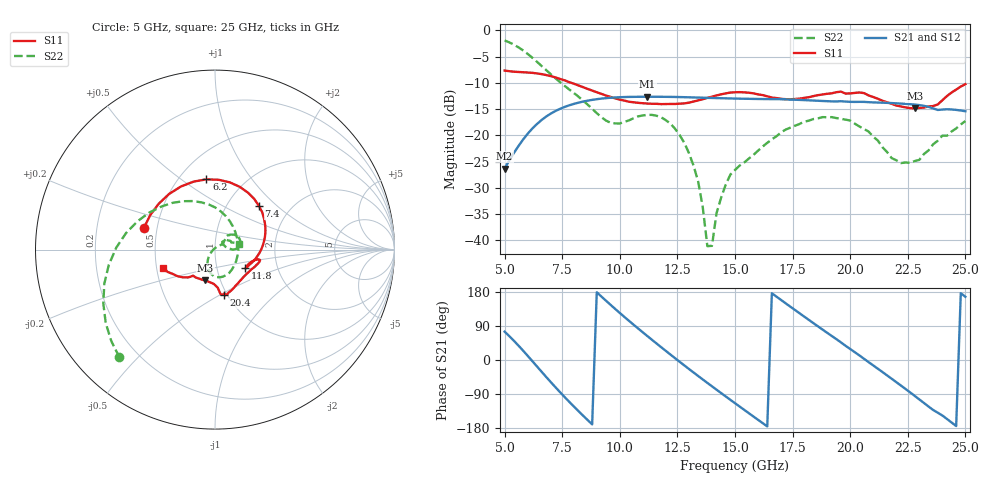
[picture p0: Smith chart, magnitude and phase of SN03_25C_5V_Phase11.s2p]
!File name = SN03_25C_5V_Phase11.s2p
!Date = 2/3/2014
!Time = 2:35 PM
!Test duration(min) = 0.07
!Test = SPars
!MPTS version = 7.120.8
!Comments =
!set_LD1(binary) = 11
!set_LD2(binary) = 524276
!test = SPars
!date_code = 20140203
!file_name = SN03_25C_5V_Phase11.s2p
!VREF(V) = 5.000
!VREF(mA) = 0.002
# GHz  S  DB  R  50
!%	Freq(GHz)  S11(dB)  S11(deg)  S21(dB)  S21(deg)  S12(dB)  S12(deg)  S22(dB)  S22(deg)
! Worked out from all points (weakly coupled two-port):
!   101 points, 5 GHz to 25 GHz, reference 50 ohm
!   highest |S21| = -12.64 dB at 11.2 GHz (marker M1); lowest = -26.3 dB at 5 GHz (marker M2)
!   lowest |S11| = -14.9 dB at 22.8 GHz (marker M3), VSWR 1.44, Z = 42.4 - j15.1 ohm
!   |S11| at or under -10 dB: 7.903 GHz to end of sweep
!   |S22| runs from -41.1 to -1.9 dB; largest |S21 - S12| = 0.00057
!   S11 on the Smith chart (normalised r, x): 5 GHz: 0.42, +0.12; 6.2 GHz: 0.68, +0.63; 7.4 GHz: 1.40, +0.77; 11.8 GHz: 1.37, -0.30; 20.4 GHz: 0.96, -0.52; 25 GHz: 0.54, -0.12
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5  -7.65 163.2  -26.32 74.9  -26.34 75.0  -1.91 -131.5
5.6  -7.92 129.4  -22.05 38.1  -22.06 38.1  -3.22 -154.4
6.2  -8.08 97.0  -18.71 -2.7  -18.73 -2.7  -5.19 178.8
7.4  -9.23 45.0  -14.96 -84.5  -14.98 -84.5  -9.83 123.2
8.4  -10.80 14.8  -13.57 -146.5  -13.58 -146.5  -13.35 81.4
9.6  -12.67 -12.2  -12.83 145.5  -12.85 145.6  -17.61 12.4
11.2  -13.94 -30.7  -12.64 63.0  -12.66 63.0  -16.08 -73.5
11.8  -14.05 -31.7  -12.65 33.6  -12.67 33.6  -16.57 -92.1
12.6  -13.96 -26.8  -12.70 -4.8  -12.71 -4.8  -19.96 -114.1
13.2  -13.55 -20.2  -12.77 -32.9  -12.78 -32.9  -25.76 -132.0
13.6  -13.12 -16.7  -12.82 -51.3  -12.83 -51.3  -33.66 -149.0
13.8  -12.85 -15.1  -12.85 -60.4  -12.86 -60.4  -41.12 176.2
14  -12.63 -14.2  -12.87 -69.4  -12.88 -69.4  -41.06 82.4
14.2  -12.39 -13.3  -12.90 -78.4  -12.91 -78.4  -34.80 58.9
14.4  -12.18 -12.7  -12.92 -87.4  -12.93 -87.4  -31.85 45.8
15  -11.79 -13.1  -12.99 -114.0  -13.00 -114.0  -26.60 36.8
16.6  -12.80 -29.2  -13.09 176.0  -13.10 176.1  -20.76 48.1
18.4  -12.52 -63.2  -13.37 97.4  -13.38 97.5  -16.89 32.6
20.4  -11.82 -79.0  -13.61 12.1  -13.62 12.0  -18.31 2.6
21.8  -13.98 -89.3  -13.85 -49.5  -13.85 -49.5  -24.33 14.7
22.8  -14.88 -107.4  -14.12 -94.6  -14.13 -94.7  -24.89 43.5
25  -10.24 -160.6  -15.41 166.9  -15.43 166.9  -17.28 13.6
